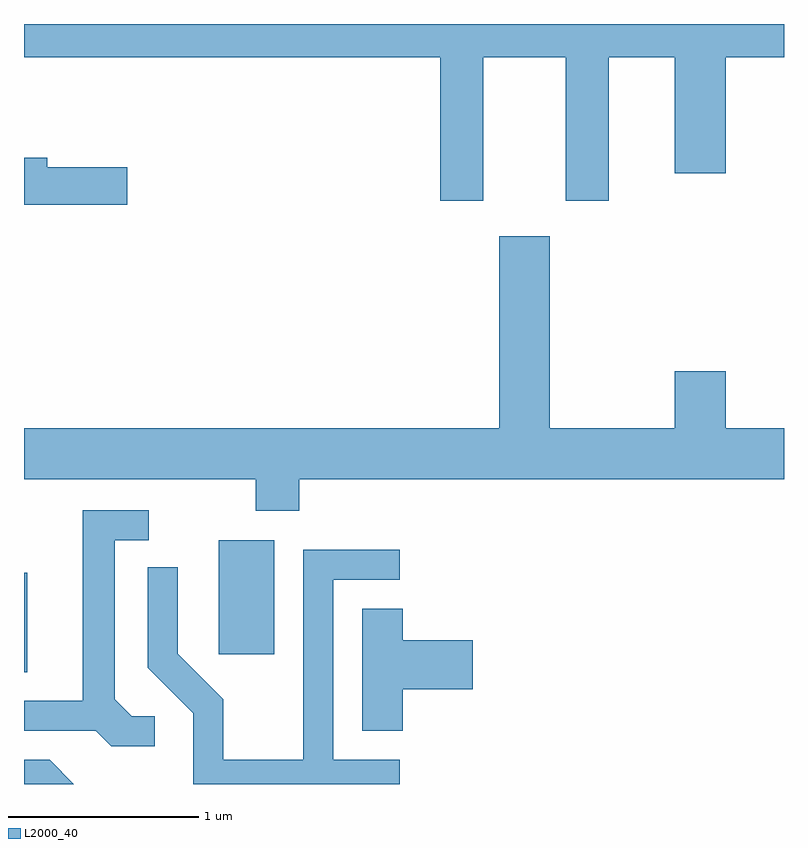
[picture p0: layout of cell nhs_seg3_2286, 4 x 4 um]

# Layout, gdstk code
import gdstk
lib = gdstk.Library(unit=1e-6, precision=1e-09)
def R(c, l, rs):  # rectangles x0, y0, x1, y1
    for r in rs: c.add(gdstk.rectangle(r[:2], r[2:], *l))
def P(c, l, *ps):  # polygons
    for p in ps: c.add(gdstk.Polygon(p, *l))
L2000_40 = (2000, 40)

nhs_seg3_2286 = lib.new_cell('nhs_seg3_2286')
R(nhs_seg3_2286, L2000_40, [(251.611,1200.481,251.629,1201.004), (252.636,1200.576,252.929,1201.174)])
P(nhs_seg3_2286, L2000_40, [(251.611,1203.716),(253.801,1203.716),(253.801,1202.961),(254.029,1202.961),(254.029,1203.716),(254.461,1203.716),(254.461,1202.961),(254.689,1202.961),(254.689,1203.716),(255.036,1203.716),(255.036,1203.106),(255.304,1203.106),(255.304,1203.716),(255.611,1203.716),(255.611,1203.892),(251.611,1203.892)],
  [(252.154,1203.139),(251.734,1203.139),(251.734,1203.189),(251.611,1203.189),(251.611,1202.941),(252.154,1202.941)],
  [(253.059,1201.496),(255.611,1201.496),(255.611,1201.764),(255.304,1201.764),(255.304,1202.064),(255.036,1202.064),(255.036,1201.764),(254.379,1201.764),(254.379,1202.774),(254.111,1202.774),(254.111,1201.764),(251.611,1201.764),(251.611,1201.496),(252.831,1201.496),(252.831,1201.331),(253.059,1201.331)],
  [(252.298,1200.249),(252.177,1200.249),(252.089,1200.337),(252.089,1201.176),(252.268,1201.176),(252.268,1201.334),(251.921,1201.334),(251.921,1200.329),(251.611,1200.329),(251.611,1200.171),(251.989,1200.171),(252.069,1200.091),(252.298,1200.091)],
  [(253.588,1200.019),(253.239,1200.019),(253.239,1200.966),(253.588,1200.966),(253.588,1201.124),(253.081,1201.124),(253.081,1200.019),(252.659,1200.019),(252.659,1200.337),(252.419,1200.577),(252.419,1201.033),(252.261,1201.033),(252.261,1200.504),(252.501,1200.264),(252.501,1199.892),(253.588,1199.892)],
  [(253.604,1200.391),(253.974,1200.391),(253.974,1200.649),(253.604,1200.649),(253.604,1200.814),(253.391,1200.814),(253.391,1200.171),(253.604,1200.171)],
  [(251.747,1200.019),(251.611,1200.019),(251.611,1199.892),(251.874,1199.892)])

lib.write_gds('nhs_seg3_2286.gds')
